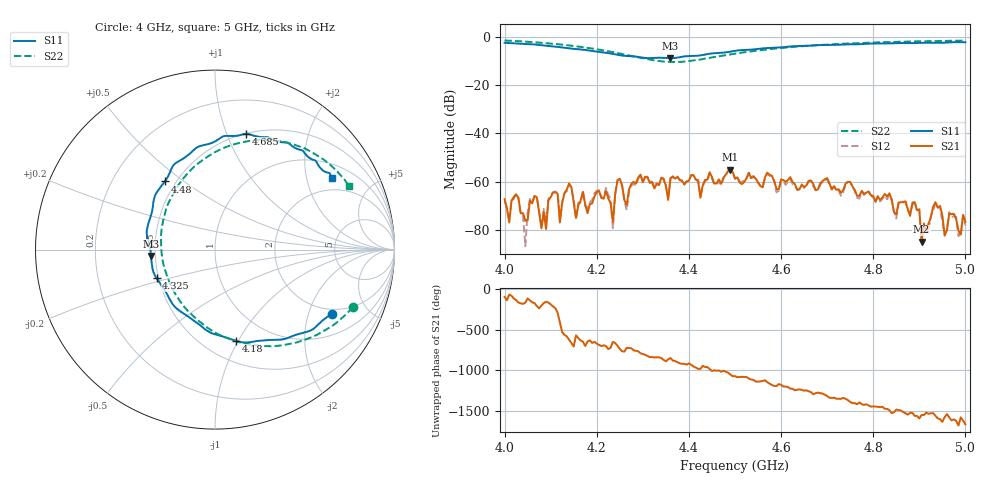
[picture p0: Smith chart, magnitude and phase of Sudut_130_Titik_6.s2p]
# Hz S RI R 50
! CMT, C1220, 16058040, 17.2.0/1
! Date: 15/08/2018 12:10:41
! Data: Format (Calibration Info)
! Freq  S11: Re/Im (F2)  S21: Re/Im (F2)  S12: Re/Im (F2)  S22: Re/Im (F2)
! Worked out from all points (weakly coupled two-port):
!   201 points, 4 GHz to 5 GHz, reference 50 ohm
!   highest |S21| = -55.08 dB at 4.49 GHz (marker M1); lowest = -84.9 dB at 4.905 GHz (marker M2)
!   lowest |S11| = -8.9 dB at 4.36 GHz (marker M3), VSWR 2.12, Z = 23.7 - j1.93 ohm
!   |S11| at or under -10 dB: nowhere
!   |S22| runs from -10.5 to -1.6 dB; largest |S21 - S12| = 0.00014
!   S11 on the Smith chart (normalised r, x): 4 GHz: 1.80, -2.88; 4.18 GHz: 0.70, -0.98; 4.325 GHz: 0.49, -0.18; 4.48 GHz: 0.44, +0.43; 4.685 GHz: 0.50, +1.17; 5 GHz: 1.47, +2.84
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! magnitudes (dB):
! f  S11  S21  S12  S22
! 4 GHz  -2.6  -67.3  -68.2  -1.6
! 4.09 GHz  -3.8  -79.6  -77.3  -2.7
! 4.105 GHz  -4.0  -64.6  -64.5  -3.0
! 4.12 GHz  -4.4  -76.9  -76.3  -3.2
! 4.14 GHz  -4.9  -60.9  -60.9  -3.7
! 4.17 GHz  -5.4  -64.3  -64.0  -4.4
! 4.18 GHz  -5.7  -73.1  -70.9  -4.7
! 4.22 GHz  -6.7  -63.9  -62.6  -5.9
! 4.235 GHz  -7.2  -76.7  -79.3  -6.4
! 4.245 GHz  -7.5  -59.6  -59.3  -6.8
! 4.265 GHz  -8.0  -69.6  -71.9  -7.6
! 4.325 GHz  -8.8  -62.9  -62.1  -9.9
! 4.335 GHz  -8.7  -61.5  -61.3  -10.1
! 4.36 GHz  -8.9  -58.6  -58.7  -10.5
! 4.48 GHz  -6.5  -57.1  -57.3  -7.7
! 4.49 GHz  -6.2  -55.1  -55.5  -7.4
! 4.5 GHz  -5.9  -58.7  -58.9  -7.1
! 4.67 GHz  -3.7  -61.2  -62.0  -3.7
! 4.685 GHz  -3.5  -60.8  -61.4  -3.5
! 4.835 GHz  -2.8  -64.9  -65.7  -2.3
! 4.905 GHz  -2.6  -84.9  -84.8  -1.9
! 5 GHz  -2.3  -76.6  -78.2  -1.6
